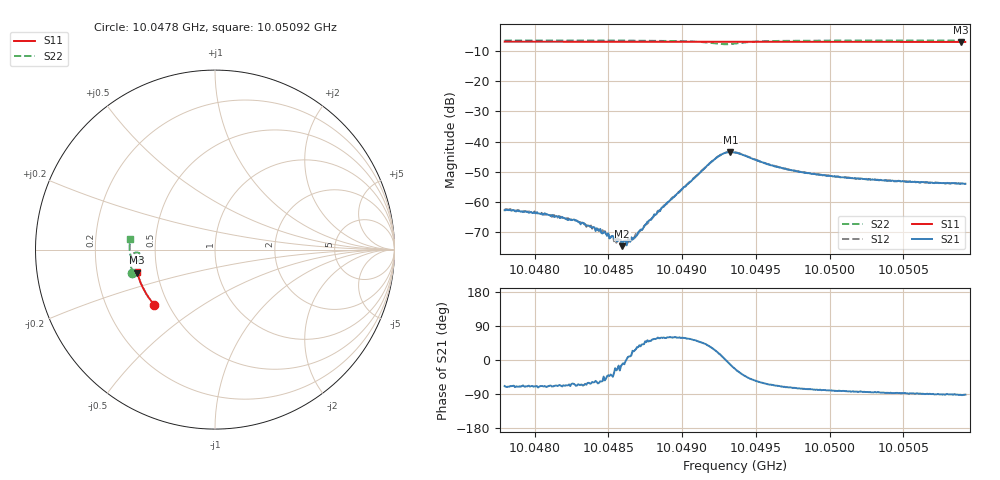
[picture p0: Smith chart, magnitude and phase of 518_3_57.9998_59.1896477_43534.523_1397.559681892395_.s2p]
#  HZ  S  RI  R  50.00
! Rohde & Schwarz Vector Network Analyzer
! Rohde-Schwarz,ZNB20-2Port,1311601062101988,3.16
! Created: UTC 3/21/2024, 1:13:29 AM
! freq[Hz]  re:S11  im:S11  re:S21  im:S21  re:S12  im:S12  re:S22  im:S22
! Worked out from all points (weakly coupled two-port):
!   401 points, 10.0478 GHz to 10.05092 GHz, reference 50 ohm
!   highest |S21| = -43.46 dB at 10.04933 GHz (marker M1); lowest = -74.7 dB at 10.04859 GHz (marker M2)
!   lowest |S11| = -6.9 dB at 10.05089 GHz (marker M3), VSWR 2.65, Z = 19.2 - j6.21 ohm
!   |S11| at or under -10 dB: nowhere
!   |S22| runs from -7.7 to -6.4 dB; largest |S21 - S12| = 0.00047
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1.0047796e10  -0.3395 -0.3068  0.000262 -0.000676  0.000289 -0.000677  -0.4598 -0.1319
1.0048077e10  -0.3513 -0.2923  0.000208 -0.000591  0.000249 -0.000567  -0.4642 -0.1126
1.004821e10  -0.3565 -0.2854  0.000204 -0.00048  0.000247 -0.000476  -0.4661 -0.1033
1.0048273e10  -0.3592 -0.2821  0.00021 -0.000452  0.000232 -0.000434  -0.4667 -0.0987
1.004832e10  -0.3608 -0.2796  0.00019 -0.000408  0.000223 -0.000384  -0.4672 -0.0952
1.004846e10  -0.3663 -0.272  0.000167 -0.000246  0.000212 -0.000264  -0.4686 -0.0848
1.0048499e10  -0.368 -0.2699  0.000228 -0.000194  0.000223 -0.000184  -0.4689 -0.0819
1.0048593e10  -0.3713 -0.2649  0.00018 -3.79e-05  0.000218 -3.7e-05  -0.4694 -0.0744
1.0048609e10  -0.3718 -0.2639  0.000223 -4.39e-05  0.000185 -1.51e-05  -0.4696 -0.073
1.0048648e10  -0.3732 -0.2618  0.000216 3.64e-05  0.000198 8.99e-05  -0.4696 -0.0698
1.0048679e10  -0.3744 -0.26  0.000228 0.000109  0.000236 0.000125  -0.4698 -0.0672
1.0048765e10  -0.3774 -0.2554  0.000286 0.000369  0.000257 0.000354  -0.4694 -0.0596
1.0048843e10  -0.3802 -0.251  0.000387 0.000603  0.000333 0.000604  -0.4688 -0.0522
1.0049202e10  -0.3917 -0.2303  0.00397 0.00251  0.00385 0.00274  -0.4334 -0.0157
1.0049273e10  -0.3936 -0.2264  0.00615 0.000979  0.00608 0.00138  -0.4149 -0.029
1.0049327e10  -0.3953 -0.2234  0.00656 -0.00143  0.00667 -0.00101  -0.4141 -0.0489
1.0049358e10  -0.3962 -0.2218  0.00603 -0.00264  0.00626 -0.00223  -0.4207 -0.0579
1.0049616e10  -0.4043 -0.2069  0.00162 -0.00362  0.00183 -0.00359  -0.466 -0.0446
1.0049882e10  -0.4116 -0.1909  0.000646 -0.00284  0.000798 -0.00284  -0.4739 -0.0184
1.0050405e10  -0.4241 -0.1589  0.000107 -0.00224  0.000267 -0.00225  -0.4754 0.0224
1.005089e10  -0.4335 -0.1287  -6.33e-05 -0.00199  5.98e-05 -0.00203  -0.4725 0.0562
1.0050921e10  -0.4342 -0.1268  -5.39e-05 -0.00199  2.7e-05 -0.00198  -0.4724 0.0583
